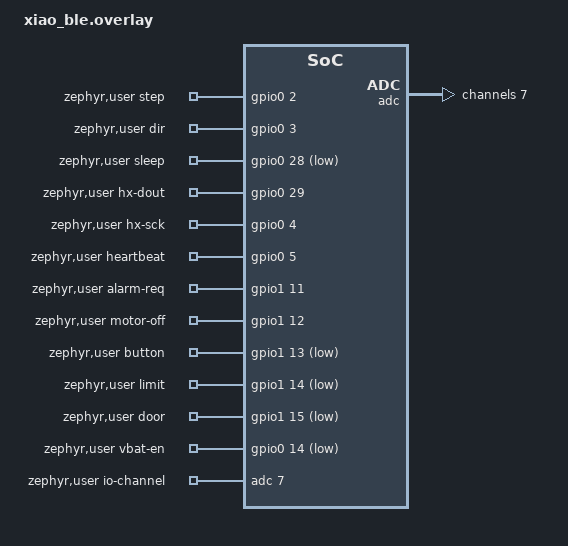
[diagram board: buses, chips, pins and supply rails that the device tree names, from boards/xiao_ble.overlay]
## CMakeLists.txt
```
cmake_minimum_required(VERSION 3.20.0)

find_package(Zephyr REQUIRED HINTS $ENV{ZEPHYR_BASE})
project(openpatch_pump)

set(OP_CORE ${CMAKE_CURRENT_SOURCE_DIR}/../core)

target_include_directories(app PRIVATE ${OP_CORE} src)
target_sources(app PRIVATE
  ${OP_CORE}/op_protocol.c
  ${OP_CORE}/op_fw.c
  src/main.c
  src/board.c
  src/ble.c
  src/storage.c
  src/shell_cmds.c
)
```

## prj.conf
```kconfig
# OpenPatch pump firmware (Seeed XIAO nRF52840, Zephyr)

CONFIG_MAIN_STACK_SIZE=4096
CONFIG_SYSTEM_WORKQUEUE_STACK_SIZE=2048
CONFIG_GPIO=y
CONFIG_ADC=y
CONFIG_WATCHDOG=y
CONFIG_LOG=y

# Bluetooth: one bonded controller, LE Secure Connections with a fixed passkey (MITM-protected)
CONFIG_BT=y
CONFIG_BT_PERIPHERAL=y
CONFIG_BT_DEVICE_NAME="OpenPatch"
CONFIG_BT_MAX_CONN=1
CONFIG_BT_MAX_PAIRED=2
CONFIG_BT_SMP=y
CONFIG_BT_SMP_SC_ONLY=y
CONFIG_BT_SMP_APP_PAIRING_ACCEPT=y
CONFIG_BT_FIXED_PASSKEY=y
CONFIG_BT_SETTINGS=y
CONFIG_BT_L2CAP_TX_MTU=247
CONFIG_BT_BUF_ACL_RX_SIZE=251
CONFIG_BT_BUF_ACL_TX_SIZE=251

# Persistence: settings (config, bonds, state snapshot) on NVS; delivery history on an FCB log
CONFIG_FLASH=y
CONFIG_FLASH_MAP=y
CONFIG_NVS=y
CONFIG_SETTINGS=y
CONFIG_SETTINGS_NVS=y
CONFIG_FCB=y

# USB shell for provisioning and bench tests (the board routes the console to USB CDC-ACM)
CONFIG_SHELL=y
```

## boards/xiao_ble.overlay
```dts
/*
 * OpenPatch pin map on the Seeed XIAO nRF52840
 *
 *  D0  P0.02  STEP            -> DRV8834 STEP (also wired to safety MCU PA1)
 *  D1  P0.03  DIR             -> DRV8834 DIR
 *  D2  P0.28  nSLEEP          -> DRV8834 nSLEEP (driver off between pulses)
 *  D3  P0.29  HX711 DOUT      <- load cell amplifier
 *  D4  P0.04  HX711 SCK       -> load cell amplifier
 *  D5  P0.05  HEARTBEAT       -> safety MCU PA2 (toggles while firmware is healthy)
 *  D6  P1.11  ALARM_REQ       -> safety MCU PA6 (buzzer request)
 *  D7  P1.12  MOTOR_OFF       <- safety MCU PA7 (high = motor power cut)
 *  D8  P1.13  BUTTON          <- to GND (also wired to safety MCU PA3)
 *  D9  P1.14  LIMIT           <- home + end-of-travel switches, wired-OR to GND
 *  D10 P1.15  DOOR            <- reservoir door switch, closed = GND
 *  P0.31/AIN7 battery divider (on the XIAO), enabled by P0.14 low
 */

/ {
	zephyr,user {
		step-gpios = <&gpio0 2 GPIO_ACTIVE_HIGH>;
		dir-gpios = <&gpio0 3 GPIO_ACTIVE_HIGH>;
		sleep-gpios = <&gpio0 28 GPIO_ACTIVE_LOW>;
		hx-dout-gpios = <&gpio0 29 GPIO_ACTIVE_HIGH>;
		hx-sck-gpios = <&gpio0 4 GPIO_ACTIVE_HIGH>;
		heartbeat-gpios = <&gpio0 5 GPIO_ACTIVE_HIGH>;
		alarm-req-gpios = <&gpio1 11 GPIO_ACTIVE_HIGH>;
		motor-off-gpios = <&gpio1 12 GPIO_ACTIVE_HIGH>;
		button-gpios = <&gpio1 13 (GPIO_ACTIVE_LOW | GPIO_PULL_UP)>;
		limit-gpios = <&gpio1 14 (GPIO_ACTIVE_LOW | GPIO_PULL_UP)>;
		door-gpios = <&gpio1 15 (GPIO_ACTIVE_LOW | GPIO_PULL_UP)>;
		vbat-en-gpios = <&gpio0 14 GPIO_ACTIVE_LOW>;
		io-channels = <&adc 7>;
	};
};

&adc {
	#address-cells = <1>;
	#size-cells = <0>;
	status = "okay";

	channel@7 {
		reg = <7>;
		zephyr,gain = "ADC_GAIN_1_6";
		zephyr,reference = "ADC_REF_INTERNAL";
		zephyr,acquisition-time = <ADC_ACQ_TIME_DEFAULT>;
		zephyr,input-positive = <NRF_SAADC_AIN7>;
		zephyr,resolution = <12>;
	};
};

/* The XIAO's header pins double as UART/I2C/SPI; free them for GPIO use */
&uart0 { status = "disabled"; };
&i2c0 { status = "disabled"; };
&i2c1 { status = "disabled"; };
&spi0 { status = "disabled"; };
&spi1 { status = "disabled"; };
&spi2 { status = "disabled"; };

/* Shrink the app partition to make room for a 192 KB append-only delivery history log */
&code_partition {
	reg = <0x00027000 0x00095000>;
};

&flash0 {
	partitions {
		history_partition: partition@bc000 {
			label = "history";
			reg = <0x000bc000 0x00030000>;
		};
	};
};
```

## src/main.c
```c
#include <zephyr/drivers/watchdog.h>
#include <zephyr/kernel.h>
#include <zephyr/logging/log.h>

#include "app.h"
#include "op_hal.h"

LOG_MODULE_REGISTER(openpatch, LOG_LEVEL_INF);

op_fw_t g_fw;
struct app_config g_cfg;
K_MUTEX_DEFINE(g_fw_lock);
K_SEM_DEFINE(init_done, 0, 1);

static const struct device *const wdt = DEVICE_DT_GET(DT_NODELABEL(wdt0));
static int wdt_channel = -1;
static atomic_t alive_ms;

/* ---------- clock: epoch minutes, set by the controller (CMD_SET_TIME) ---------- */

static uint32_t base_minute;
static int64_t base_uptime_ms;

uint32_t app_clock_minute(void)
{
    return base_minute + (uint32_t)((k_uptime_get() - base_uptime_ms) / 60000);
}

void app_clock_set(uint32_t minute)
{
    base_minute = minute;
    base_uptime_ms = k_uptime_get();
}

/* ---------- glue ---------- */

bool app_provisioned(void)
{
    return g_cfg.key_len >= 16 && g_cfg.basal_n > 0 && g_cfg.cal.calibrated;
}

size_t app_handle_frame(const uint8_t *in, size_t len, uint8_t *out, size_t cap)
{
    k_mutex_lock(&g_fw_lock, K_FOREVER);
    size_t n = op_fw_handle(&g_fw, in, len, out, cap);
    k_mutex_unlock(&g_fw_lock);
    return n;
}

void app_keepalive(void)
{
    atomic_set(&alive_ms, (atomic_val_t)k_uptime_get_32());
    if (wdt_channel >= 0) {
        wdt_feed(wdt, wdt_channel);
    }
}

void app_reconfigure(void)
{
    k_mutex_lock(&g_fw_lock, K_FOREVER);
    if (!op_fw_configure(&g_fw, g_cfg.key, g_cfg.key_len, g_cfg.basal_start, g_cfg.basal_cuph, g_cfg.basal_n,
                         &g_cfg.lim)) {
        LOG_ERR("configuration rejected by firmware core");
    }
    k_mutex_unlock(&g_fw_lock);
}

/* ---------- persistence and time hooks from the core ---------- */

void op_hal_history_changed(op_fw_t *fw, const op_record_t *rec)
{
    ARG_UNUSED(fw);
    storage_history_append(rec);
}

void op_hal_state_changed(op_fw_t *fw)
{
    op_snapshot_t s = op_fw_snapshot(fw);
    storage_save_snapshot(&s);
}

void op_hal_time_set(op_fw_t *fw, uint32_t minute)
{
    ARG_UNUSED(fw);
    app_clock_set(minute);
}

/* ---------- UI thread: heartbeat, button, door, LEDs, alarm request ---------- */

static int64_t silenced_until;

static void ui_thread(void *a, void *b, void *c)
{
    ARG_UNUSED(a);
    ARG_UNUSED(b);
    ARG_UNUSED(c);
    bool hb = false;
    uint32_t tick = 0;
    int64_t press_start = -1;
    bool held_handled = false;

    k_sem_take(&init_done, K_FOREVER);
    for (;;) {
        k_msleep(50);
        tick++;
        uint32_t now = k_uptime_get_32();

        /* heartbeat only while the delivery loop is demonstrably alive */
        if (tick % 5 == 0) {
            bool healthy = (now - (uint32_t)atomic_get(&alive_ms)) < 3000;
            if (healthy) {
                hb = !hb;
                board_set_heartbeat(hb);
            }
        }

        /* button: short press silences warnings for 30 min, 5 s hold suspends delivery */
        if (board_button_pressed()) {
            if (press_start < 0) {
                press_start = now;
                held_handled = false;
            } else if (!held_handled && now - press_start >= 5000) {
                k_mutex_lock(&g_fw_lock, K_FOREVER);
                op_fw_local_command(&g_fw, OP_CMD_SUSPEND, NULL, 0);
                k_mutex_unlock(&g_fw_lock);
                LOG_WRN("suspended by button");
                held_handled = true;
            }
        } else if (press_start >= 0) {
            if (!held_handled && now - press_start < 1000) {
                silenced_until = k_uptime_get() + 30LL * 60 * 1000;
            }
            press_start = -1;
        }

        k_mutex_lock(&g_fw_lock, K_FOREVER);
        if (board_door_open() && g_fw.state == OP_STATE_RUNNING) {
            op_fw_local_command(&g_fw, OP_CMD_SUSPEND, NULL, 0);
            LOG_WRN("reservoir door opened: suspended");
        }
        uint16_t alarms = g_fw.alarms;
        uint8_t state = g_fw.state;
        k_mutex_unlock(&g_fw_lock);

        bool stop = (alarms & OP_STOP_MASK) != 0;
        bool warn = (alarms & (OP_WARN_RESERVOIR_LOW | OP_WARN_BATTERY_LOW | OP_WARN_RESTARTED)) != 0;
        board_set_alarm_request(stop || (warn && k_uptime_get() > silenced_until));

        bool blink = (tick / 10) % 2;
        board_leds(stop || (warn && blink), state == OP_STATE_RUNNING && !stop && blink,
                   !app_provisioned() || state == OP_STATE_NO_RESERVOIR || ble_connected());
    }
}

K_THREAD_DEFINE(ui_tid, 2048, ui_thread, NULL, NULL, NULL, 6, 0, 0);

/* ---------- delivery loop ---------- */

static void delivery_step(void)
{
    if (board_rewind_pending()) {
        if (!board_run_rewind()) {
            k_mutex_lock(&g_fw_lock, K_FOREVER);
            op_fw_raise(&g_fw, OP_ALARM_MOTOR);
            k_mutex_unlock(&g_fw_lock);
        }
    }
    uint32_t now = app_clock_minute();
    k_mutex_lock(&g_fw_lock, K_FOREVER);
    if (now > g_fw.minute) {
        uint32_t gap = now - g_fw.minute;
        if (gap <= 3) {
            for (uint32_t m = g_fw.minute + 1; m <= now; m++) {
                op_fw_tick(&g_fw, m);
            }
        } else {
            op_fw_tick(&g_fw, now);   /* never "catch up" hours of basal after a clock jump */
        }
    }
    k_mutex_unlock(&g_fw_lock);
}

static void watchdog_start(void)
{
    if (!device_is_ready(wdt)) {
        LOG_ERR("watchdog not ready");
        return;
    }
    struct wdt_timeout_cfg cfg = {
        .window = {.min = 0, .max = 8000},
        .callback = NULL,
        .flags = WDT_FLAG_RESET_SOC,
    };
    wdt_channel = wdt_install_timeout(wdt, &cfg);
    if (wdt_channel < 0 || wdt_setup(wdt, WDT_OPT_PAUSE_HALTED_BY_DBG) < 0) {
        LOG_ERR("watchdog setup failed");
        wdt_channel = -1;
    }
}

int main(void)
{
    static const uint16_t idle_start[1] = {0};
    static const uint16_t idle_rate[1] = {0};

    board_init();
    storage_init();
    storage_load_config(&g_cfg);
    storage_history_init();

    const uint16_t *starts = g_cfg.basal_n ? g_cfg.basal_start : idle_start;
    const uint16_t *rates = g_cfg.basal_n ? g_cfg.basal_cuph : idle_rate;
    size_t n = g_cfg.basal_n ? g_cfg.basal_n : 1;

    k_mutex_lock(&g_fw_lock, K_FOREVER);
    op_fw_init(&g_fw, NULL, g_cfg.key, g_cfg.key_len, starts, rates, n, &g_cfg.lim, 0, 0);
    if (g_cfg.snap.valid) {
        op_fw_restore(&g_fw, &g_cfg.snap);
        storage_history_replay(&g_fw);
        op_fw_power_cycle(&g_fw);    /* resume scheduled basal, nothing in flight, RESTARTED alarm */
    }
    app_clock_set(g_fw.minute);
    k_mutex_unlock(&g_fw_lock);

    board_apply_cal(&g_cfg.cal);
    board_update_battery();

    if (app_provisioned()) {
        ble_start(g_cfg.cal.passkey);
    } else {
        LOG_WRN("not provisioned: connect USB and use the 'op' shell (op status)");
    }

    watchdog_start();
    app_keepalive();
    k_sem_give(&init_done);

    uint32_t loops = 0;
    for (;;) {
        delivery_step();
        if (++loops % 60 == 0) {
            board_update_battery();
        }
        app_keepalive();
        k_msleep(1000);
    }
    return 0;
}
```

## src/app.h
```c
#ifndef APP_H
#define APP_H

#include <stdbool.h>
#include <stdint.h>
#include <zephyr/kernel.h>

#include "op_fw.h"

struct app_cal {
    uint32_t steps_per_pulse_x100;   /* motor steps per 0.05 U, x100 (from gravimetric calibration) */
    int32_t force_zero;              /* HX711 raw reading with no load */
    int32_t force_counts_per_unit;   /* HX711 counts per force unit used by occlusion_threshold */
    uint32_t passkey;                /* 6-digit BLE pairing passkey */
    uint8_t calibrated;
};

struct app_config {
    uint8_t key[OP_MAX_KEY];
    uint8_t key_len;
    op_limits_t lim;
    uint8_t basal_n;
    uint16_t basal_start[OP_MAX_BASAL_ENTRIES];
    uint16_t basal_cuph[OP_MAX_BASAL_ENTRIES];
    struct app_cal cal;
    op_snapshot_t snap;
};

extern op_fw_t g_fw;
extern struct app_config g_cfg;
extern struct k_mutex g_fw_lock;

bool app_provisioned(void);
size_t app_handle_frame(const uint8_t *in, size_t len, uint8_t *out, size_t cap);
void app_keepalive(void);            /* long motor operations call this to keep watchdog + heartbeat alive */
void app_reconfigure(void);          /* re-apply key/basal/limits after a shell change */
uint32_t app_clock_minute(void);
void app_clock_set(uint32_t minute);

/* board.c */
int board_init(void);
void board_apply_cal(const struct app_cal *cal);
bool board_rewind_pending(void);
bool board_run_rewind(void);
int32_t board_read_force_raw(void);
uint16_t board_battery_mv(void);
void board_update_battery(void);
void board_set_heartbeat(bool level);
void board_set_alarm_request(bool on);
bool board_motor_power_off(void);
bool board_button_pressed(void);
bool board_door_open(void);
void board_leds(bool red, bool green, bool blue);
int board_bench_pulses(uint32_t n);

/* ble.c */
int ble_start(uint32_t passkey);
void ble_open_pairing_window(uint32_t seconds);
int ble_unpair_all(void);
bool ble_connected(void);

/* storage.c */
int storage_init(void);
int storage_load_config(struct app_config *cfg);
int storage_save_key(void);
int storage_save_limits(void);
int storage_save_basal(void);
int storage_save_cal(void);
void storage_save_snapshot(const op_snapshot_t *snap);
int storage_history_init(void);
void storage_history_append(const op_record_t *rec);
int storage_history_replay(op_fw_t *fw);

#endif
```

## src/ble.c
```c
#include <zephyr/bluetooth/bluetooth.h>
#include <zephyr/bluetooth/conn.h>
#include <zephyr/bluetooth/gatt.h>
#include <zephyr/bluetooth/uuid.h>
#include <zephyr/kernel.h>
#include <zephyr/logging/log.h>
#include <zephyr/settings/settings.h>

#include "app.h"

LOG_MODULE_REGISTER(ble, LOG_LEVEL_INF);

/* GATT layout shared with openpatch/pump/ble.py */
static struct bt_uuid_128 svc_uuid =
    BT_UUID_INIT_128(BT_UUID_128_ENCODE(0x6f700001, 0x0b5a, 0x4c5e, 0x9d3e, 0x0e0a7c1d0001));
static struct bt_uuid_128 cmd_uuid =
    BT_UUID_INIT_128(BT_UUID_128_ENCODE(0x6f700002, 0x0b5a, 0x4c5e, 0x9d3e, 0x0e0a7c1d0001));
static struct bt_uuid_128 rsp_uuid =
    BT_UUID_INIT_128(BT_UUID_128_ENCODE(0x6f700003, 0x0b5a, 0x4c5e, 0x9d3e, 0x0e0a7c1d0001));

static struct bt_conn *current;
static int64_t pairing_until;

/* Commands run on their own work queue: never on the Bluetooth host's threads */
K_THREAD_STACK_DEFINE(cmd_stack, 3072);
static struct k_work_q cmd_q;
static struct k_work cmd_work;
static uint8_t req_buf[OP_MAX_FRAME];
static size_t req_len;
static struct bt_conn *req_conn;
static atomic_t req_busy;

static ssize_t on_cmd_write(struct bt_conn *conn, const struct bt_gatt_attr *attr, const void *buf, uint16_t len,
                            uint16_t offset, uint8_t flags);

BT_GATT_SERVICE_DEFINE(op_svc,
    BT_GATT_PRIMARY_SERVICE(&svc_uuid),
    BT_GATT_CHARACTERISTIC(&cmd_uuid.uuid, BT_GATT_CHRC_WRITE, BT_GATT_PERM_WRITE_AUTHEN, NULL, on_cmd_write, NULL),
    BT_GATT_CHARACTERISTIC(&rsp_uuid.uuid, BT_GATT_CHRC_NOTIFY, BT_GATT_PERM_NONE, NULL, NULL, NULL),
    BT_GATT_CCC(NULL, BT_GATT_PERM_READ | BT_GATT_PERM_WRITE_AUTHEN),
);

static void cmd_work_handler(struct k_work *work)
{
    ARG_UNUSED(work);
    static uint8_t rsp[OP_MAX_FRAME];
    size_t n = app_handle_frame(req_buf, req_len, rsp, sizeof rsp);
    if (n && req_conn) {
        int err = bt_gatt_notify(req_conn, &op_svc.attrs[4], rsp, (uint16_t)n);
        if (err) {
            LOG_WRN("notify failed (%d)", err);
        }
    }
    if (req_conn) {
        bt_conn_unref(req_conn);
        req_conn = NULL;
    }
    atomic_set(&req_busy, 0);
}

static ssize_t on_cmd_write(struct bt_conn *conn, const struct bt_gatt_attr *attr, const void *buf, uint16_t len,
                            uint16_t offset, uint8_t flags)
{
    ARG_UNUSED(attr);
    ARG_UNUSED(flags);
    if (offset != 0) {
        return BT_GATT_ERR(BT_ATT_ERR_INVALID_OFFSET);
    }
    if (len > sizeof req_buf) {
        return BT_GATT_ERR(BT_ATT_ERR_INVALID_ATTRIBUTE_LEN);
    }
    if (!atomic_cas(&req_busy, 0, 1)) {
        return BT_GATT_ERR(BT_ATT_ERR_UNLIKELY);   /* one command at a time; the controller retries */
    }
    memcpy(req_buf, buf, len);
    req_len = len;
    req_conn = bt_conn_ref(conn);
    k_work_submit_to_queue(&cmd_q, &cmd_work);
    return len;
}

/* ---------- connection and pairing ---------- */

static const struct bt_data ad[] = {
    BT_DATA_BYTES(BT_DATA_FLAGS, (BT_LE_AD_GENERAL | BT_LE_AD_NO_BREDR)),
    BT_DATA_BYTES(BT_DATA_UUID128_ALL, BT_UUID_128_ENCODE(0x6f700001, 0x0b5a, 0x4c5e, 0x9d3e, 0x0e0a7c1d0001)),
};
static const struct bt_data sd[] = {
    BT_DATA(BT_DATA_NAME_COMPLETE, CONFIG_BT_DEVICE_NAME, sizeof(CONFIG_BT_DEVICE_NAME) - 1),
};

static void advertise(void)
{
    int err = bt_le_adv_start(BT_LE_ADV_CONN_FAST_1, ad, ARRAY_SIZE(ad), sd, ARRAY_SIZE(sd));
    if (err && err != -EALREADY) {
        LOG_ERR("advertising failed (%d)", err);
    }
}

static void on_connected(struct bt_conn *conn, uint8_t err)
{
    if (err) {
        return;
    }
    current = bt_conn_ref(conn);
    bt_conn_set_security(conn, BT_SECURITY_L4);
    LOG_INF("connected");
}

static void on_disconnected(struct bt_conn *conn, uint8_t reason)
{
    ARG_UNUSED(conn);
    if (current) {
        bt_conn_unref(current);
        current = NULL;
    }
    LOG_INF("disconnected (0x%02x)", reason);
}

static void on_recycled(void)
{
    advertise();
}

BT_CONN_CB_DEFINE(conn_callbacks) = {
    .connected = on_connected,
    .disconnected = on_disconnected,
    .recycled = on_recycled,
};

static unsigned int bond_count;

static void count_bond(const struct bt_bond_info *info, void *data)
{
    ARG_UNUSED(info);
    ARG_UNUSED(data);
    bond_count++;
}

static enum bt_security_err pairing_accept(struct bt_conn *conn, const struct bt_conn_pairing_feat *const feat)
{
    ARG_UNUSED(conn);
    ARG_UNUSED(feat);
    bond_count = 0;
    bt_foreach_bond(BT_ID_DEFAULT, count_bond, NULL);
    if (bond_count == 0 || k_uptime_get() < pairing_until) {
        return BT_SECURITY_ERR_SUCCESS;
    }
    LOG_WRN("pairing refused: open a window with 'op pair' on the USB shell");
    return BT_SECURITY_ERR_PAIR_NOT_ALLOWED;
}

static void passkey_display(struct bt_conn *conn, unsigned int passkey)
{
    ARG_UNUSED(conn);
    LOG_INF("pairing passkey: %06u", passkey);
}

static void auth_cancel(struct bt_conn *conn)
{
    ARG_UNUSED(conn);
}

static struct bt_conn_auth_cb auth_cb = {
    .pairing_accept = pairing_accept,
    .passkey_display = passkey_display,
    .cancel = auth_cancel,
};

static void pairing_complete(struct bt_conn *conn, bool bonded)
{
    ARG_UNUSED(conn);
    LOG_INF("paired (bonded=%d)", bonded);
}

static void pairing_failed(struct bt_conn *conn, enum bt_security_err reason)
{
    ARG_UNUSED(conn);
    LOG_WRN("pairing failed (%d)", reason);
}

static struct bt_conn_auth_info_cb auth_info_cb = {
    .pairing_complete = pairing_complete,
    .pairing_failed = pairing_failed,
};

int ble_start(uint32_t passkey)
{
    k_work_queue_init(&cmd_q);
    k_work_queue_start(&cmd_q, cmd_stack, K_THREAD_STACK_SIZEOF(cmd_stack), 5, NULL);
    k_work_init(&cmd_work, cmd_work_handler);

    int err = bt_enable(NULL);
    if (err) {
        LOG_ERR("bt_enable failed (%d)", err);
        return err;
    }
    settings_load();   /* bonds */
    bt_passkey_set(passkey % 1000000);
    bt_conn_auth_cb_register(&auth_cb);
    bt_conn_auth_info_cb_register(&auth_info_cb);
    advertise();
    return 0;
}

void ble_open_pairing_window(uint32_t seconds)
{
    pairing_until = k_uptime_get() + (int64_t)seconds * 1000;
}

int ble_unpair_all(void)
{
    return bt_unpair(BT_ID_DEFAULT, BT_ADDR_LE_ANY);
}

bool ble_connected(void)
{
    return current != NULL;
}
```

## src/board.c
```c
#include <zephyr/drivers/adc.h>
#include <zephyr/drivers/gpio.h>
#include <zephyr/kernel.h>
#include <zephyr/logging/log.h>

#include "app.h"
#include "op_hal.h"

LOG_MODULE_REGISTER(board, LOG_LEVEL_INF);

#define USER DT_PATH(zephyr_user)

static const struct gpio_dt_spec step = GPIO_DT_SPEC_GET(USER, step_gpios);
static const struct gpio_dt_spec dir = GPIO_DT_SPEC_GET(USER, dir_gpios);
static const struct gpio_dt_spec sleep_n = GPIO_DT_SPEC_GET(USER, sleep_gpios);
static const struct gpio_dt_spec hx_dout = GPIO_DT_SPEC_GET(USER, hx_dout_gpios);
static const struct gpio_dt_spec hx_sck = GPIO_DT_SPEC_GET(USER, hx_sck_gpios);
static const struct gpio_dt_spec heartbeat = GPIO_DT_SPEC_GET(USER, heartbeat_gpios);
static const struct gpio_dt_spec alarm_req = GPIO_DT_SPEC_GET(USER, alarm_req_gpios);
static const struct gpio_dt_spec motor_off = GPIO_DT_SPEC_GET(USER, motor_off_gpios);
static const struct gpio_dt_spec button = GPIO_DT_SPEC_GET(USER, button_gpios);
static const struct gpio_dt_spec limit = GPIO_DT_SPEC_GET(USER, limit_gpios);
static const struct gpio_dt_spec door = GPIO_DT_SPEC_GET(USER, door_gpios);
static const struct gpio_dt_spec vbat_en = GPIO_DT_SPEC_GET(USER, vbat_en_gpios);
static const struct gpio_dt_spec led_r = GPIO_DT_SPEC_GET(DT_ALIAS(led0), gpios);
static const struct gpio_dt_spec led_g = GPIO_DT_SPEC_GET(DT_ALIAS(led1), gpios);
static const struct gpio_dt_spec led_b = GPIO_DT_SPEC_GET(DT_ALIAS(led2), gpios);
static const struct adc_dt_spec vbat = ADC_DT_SPEC_GET(USER);

#define STEP_HALF_US 400            /* ~1.25 kHz under load */
#define REWIND_HALF_US 150          /* unloaded retraction is faster */
#define DRIVER_WAKE_US 1000
#define MAX_REWIND_STEPS 200000u    /* > full 40 mm travel at 0.25 um/step */
#define LIMIT_BACKOFF_STEPS 400

static struct app_cal cal = {.steps_per_pulse_x100 = 1400, .force_counts_per_unit = 100};
static uint32_t step_carry;
static atomic_t rewind_requested;
static atomic_t rewinding;
static atomic_t battery_mv_cached = ATOMIC_INIT(4000);

int board_init(void)
{
    const struct gpio_dt_spec *outs[] = {&step, &dir, &sleep_n, &hx_sck, &heartbeat, &alarm_req,
                                         &led_r, &led_g, &led_b};
    const struct gpio_dt_spec *ins[] = {&hx_dout, &motor_off, &button, &limit, &door};
    for (size_t i = 0; i < ARRAY_SIZE(outs); i++) {
        if (!gpio_is_ready_dt(outs[i]) || gpio_pin_configure_dt(outs[i], GPIO_OUTPUT_INACTIVE) < 0) {
            LOG_ERR("output %u not ready", (unsigned)i);
            return -ENODEV;
        }
    }
    for (size_t i = 0; i < ARRAY_SIZE(ins); i++) {
        if (!gpio_is_ready_dt(ins[i]) || gpio_pin_configure_dt(ins[i], GPIO_INPUT) < 0) {
            LOG_ERR("input %u not ready", (unsigned)i);
            return -ENODEV;
        }
    }
    /* Seeed: keep P0.14 low at all times; driving it high exposes AIN7 to the raw battery voltage */
    if (!gpio_is_ready_dt(&vbat_en) || gpio_pin_configure_dt(&vbat_en, GPIO_OUTPUT_ACTIVE) < 0) {
        LOG_ERR("battery divider enable not ready");
    }
    if (!adc_is_ready_dt(&vbat) || adc_channel_setup_dt(&vbat) < 0) {
        LOG_ERR("battery ADC not ready");
    }
    return 0;
}

void board_apply_cal(const struct app_cal *c)
{
    cal = *c;
    if (cal.steps_per_pulse_x100 == 0) {
        cal.steps_per_pulse_x100 = 1400;
    }
    if (cal.force_counts_per_unit == 0) {
        cal.force_counts_per_unit = 100;
    }
}

/* ---------- motor ---------- */

static void step_once(uint32_t half_us)
{
    gpio_pin_set_dt(&step, 1);
    k_busy_wait(half_us);
    gpio_pin_set_dt(&step, 0);
    k_busy_wait(half_us);
}

static void driver_enable(bool on)
{
    gpio_pin_set_dt(&sleep_n, on ? 0 : 1);   /* nSLEEP is active-low in the devicetree */
    if (on) {
        k_busy_wait(DRIVER_WAKE_US);
    }
}

op_hal_result_t op_hal_motor_pulse(op_fw_t *fw, uint8_t kind)
{
    ARG_UNUSED(fw);
    ARG_UNUSED(kind);
    if (gpio_pin_get_dt(&motor_off)) {
        return OP_HAL_NO_POWER;
    }
    if (gpio_pin_get_dt(&limit)) {
        return OP_HAL_END_OF_TRAVEL;
    }
    uint32_t total = step_carry + cal.steps_per_pulse_x100;
    uint32_t steps = total / 100;
    step_carry = total % 100;

    gpio_pin_set_dt(&dir, 1);
    driver_enable(true);
    for (uint32_t i = 0; i < steps; i++) {
        if (gpio_pin_get_dt(&limit)) {
            driver_enable(false);
            return OP_HAL_END_OF_TRAVEL;
        }
        if (gpio_pin_get_dt(&motor_off)) {
            driver_enable(false);
            return OP_HAL_NO_POWER;
        }
        step_once(STEP_HALF_US);
    }
    driver_enable(false);
    return OP_HAL_OK;
}

bool op_hal_motor_rewind(op_fw_t *fw)
{
    ARG_UNUSED(fw);
    if (gpio_pin_get_dt(&motor_off)) {
        return false;
    }
    atomic_set(&rewind_requested, 1);   /* performed by the delivery loop, outside the command path */
    return true;
}

bool op_hal_busy(op_fw_t *fw)
{
    ARG_UNUSED(fw);
    return atomic_get(&rewind_requested) || atomic_get(&rewinding);
}

bool board_rewind_pending(void)
{
    return atomic_get(&rewind_requested) != 0;
}

bool board_run_rewind(void)
{
    atomic_set(&rewinding, 1);
    atomic_set(&rewind_requested, 0);
    bool ok = false;

    /* If already on the limit switch (end of travel), the first moves back off it */
    gpio_pin_set_dt(&dir, 0);
    driver_enable(true);
    uint32_t i = 0;
    for (; i < LIMIT_BACKOFF_STEPS && gpio_pin_get_dt(&limit); i++) {
        step_once(REWIND_HALF_US);
    }
    for (; i < MAX_REWIND_STEPS; i++) {
        if (gpio_pin_get_dt(&motor_off)) {
            break;
        }
        if (gpio_pin_get_dt(&limit)) {
            ok = true;
            break;
        }
        step_once(REWIND_HALF_US);
        if (i % 2000 == 0) {
            app_keepalive();
        }
    }
    if (ok) {
        /* home and end switches share one input: step forward until the home switch releases */
        gpio_pin_set_dt(&dir, 1);
        uint32_t b = 0;
        for (; b < LIMIT_BACKOFF_STEPS && gpio_pin_get_dt(&limit); b++) {
            step_once(REWIND_HALF_US);
        }
        ok = !gpio_pin_get_dt(&limit);
    }
    driver_enable(false);
    step_carry = 0;
    atomic_set(&rewinding, 0);
    if (!ok) {
        LOG_ERR("rewind failed after %u steps", (unsigned)i);
    }
    return ok;
}

int board_bench_pulses(uint32_t n)
{
    for (uint32_t i = 0; i < n; i++) {
        op_hal_result_t r = op_hal_motor_pulse(NULL, OP_KIND_PRIME);
        if (r != OP_HAL_OK) {
            return -(int)r;
        }
        app_keepalive();
    }
    return 0;
}

/* ---------- load cell (HX711, channel A, gain 128) ---------- */

int32_t board_read_force_raw(void)
{
    for (int waited = 0; gpio_pin_get_dt(&hx_dout); waited++) {
        if (waited > 200) {
            return INT32_MIN;          /* no conversion within 200 ms: sensor fault */
        }
        k_msleep(1);
    }
    uint32_t v = 0;
    unsigned int key = irq_lock();
    for (int i = 0; i < 24; i++) {
        gpio_pin_set_dt(&hx_sck, 1);
        k_busy_wait(1);
        v = (v << 1) | (uint32_t)gpio_pin_get_dt(&hx_dout);
        gpio_pin_set_dt(&hx_sck, 0);
        k_busy_wait(1);
    }
    gpio_pin_set_dt(&hx_sck, 1);       /* 25th pulse selects channel A / gain 128 for the next read */
    k_busy_wait(1);
    gpio_pin_set_dt(&hx_sck, 0);
    irq_unlock(key);
    if (v & 0x800000) {
        v |= 0xFF000000;
    }
    return (int32_t)v;
}

uint16_t op_hal_line_force(op_fw_t *fw)
{
    ARG_UNUSED(fw);
    int32_t raw = board_read_force_raw();
    if (raw == INT32_MIN) {
        return 0xFFFF;                 /* unreadable sensor reads as maximum force: fails safe */
    }
    int32_t f = (raw - cal.force_zero) / cal.force_counts_per_unit;
    if (f < 0) {
        return 0;
    }
    return f > 0xFFFE ? 0xFFFE : (uint16_t)f;
}

/* ---------- battery ---------- */

void board_update_battery(void)
{
    int16_t sample = 0;
    struct adc_sequence seq = {.buffer = &sample, .buffer_size = sizeof sample};
    if (adc_sequence_init_dt(&vbat, &seq) == 0 && adc_read_dt(&vbat, &seq) == 0) {
        int32_t mv = sample;
        if (adc_raw_to_millivolts_dt(&vbat, &mv) == 0) {
            atomic_set(&battery_mv_cached, mv * 1510 / 510);   /* XIAO divider: 1 M / 510 k */
        }
    }
}

uint16_t board_battery_mv(void)
{
    return (uint16_t)atomic_get(&battery_mv_cached);
}

uint8_t op_hal_battery_pct(op_fw_t *fw)
{
    ARG_UNUSED(fw);
    int32_t mv = (int32_t)board_battery_mv();
    int32_t pct = (mv - 3300) * 100 / (4150 - 3300);   /* rough LiPo curve under light load */
    return (uint8_t)(pct < 0 ? 0 : pct > 100 ? 100 : pct);
}

/* ---------- misc I/O ---------- */

void board_set_heartbeat(bool level)
{
    gpio_pin_set_dt(&heartbeat, level);
}

void board_set_alarm_request(bool on)
{
    gpio_pin_set_dt(&alarm_req, on);
}

bool board_motor_power_off(void)
{
    return gpio_pin_get_dt(&motor_off) == 1;
}

bool board_button_pressed(void)
{
    return gpio_pin_get_dt(&button) == 1;
}

bool board_door_open(void)
{
    return gpio_pin_get_dt(&door) == 0;
}

void board_leds(bool red, bool green, bool blue)
{
    gpio_pin_set_dt(&led_r, red);
    gpio_pin_set_dt(&led_g, green);
    gpio_pin_set_dt(&led_b, blue);
}
```

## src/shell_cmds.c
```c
#include <stdlib.h>
#include <string.h>
#include <zephyr/kernel.h>
#include <zephyr/random/random.h>
#include <zephyr/shell/shell.h>

#include "app.h"

/* USB provisioning and bench shell. Every command that changes configuration requires the pump to be
 * out of RUNNING state: keys and limits are never changed while insulin is being delivered. */

static bool require_idle(const struct shell *sh)
{
    k_mutex_lock(&g_fw_lock, K_FOREVER);
    bool idle = g_fw.state != OP_STATE_RUNNING;
    k_mutex_unlock(&g_fw_lock);
    if (!idle) {
        shell_error(sh, "suspend delivery first (hold the button 5 s, or send SUSPEND)");
    }
    return idle;
}

static int hexval(char c)
{
    if (c >= '0' && c <= '9') {
        return c - '0';
    }
    if (c >= 'a' && c <= 'f') {
        return c - 'a' + 10;
    }
    if (c >= 'A' && c <= 'F') {
        return c - 'A' + 10;
    }
    return -1;
}

static int cmd_status(const struct shell *sh, size_t argc, char **argv)
{
    ARG_UNUSED(argc);
    ARG_UNUSED(argv);
    static const char *states[] = {"running", "suspended", "no_reservoir", "priming"};
    k_mutex_lock(&g_fw_lock, K_FOREVER);
    shell_print(sh, "state %s  minute %u  reservoir %u.%02u U  alarms 0x%04x  last-hour %u cU",
                states[g_fw.state & 3], g_fw.minute, g_fw.reservoir_cu / 100, g_fw.reservoir_cu % 100, g_fw.alarms,
                op_fw_window_cu(&g_fw));
    k_mutex_unlock(&g_fw_lock);
    shell_print(sh, "provisioned %s  key %s  basal entries %u  calibrated %s  battery %u mV  ble %s",
                app_provisioned() ? "yes" : "NO", g_cfg.key_len >= 16 ? "set" : "MISSING", g_cfg.basal_n,
                g_cfg.cal.calibrated ? "yes" : "NO", board_battery_mv(), ble_connected() ? "connected" : "idle");
    shell_print(sh, "limits: max basal %u cU/h, max bolus %u cU, hourly cap %u cU, occlusion %u",
                g_cfg.lim.max_basal_cuph, g_cfg.lim.max_bolus_cu, g_cfg.lim.hourly_cap_cu,
                g_cfg.lim.occlusion_threshold);
    shell_print(sh, "cal: %u steps/pulse x100, force zero %d, %d counts/unit, passkey %06u",
                g_cfg.cal.steps_per_pulse_x100, g_cfg.cal.force_zero, g_cfg.cal.force_counts_per_unit,
                g_cfg.cal.passkey);
    return 0;
}

static int cmd_key(const struct shell *sh, size_t argc, char **argv)
{
    ARG_UNUSED(argc);
    if (!require_idle(sh)) {
        return -EPERM;
    }
    size_t len = strlen(argv[1]);
    if (len < 32 || len > 2 * OP_MAX_KEY || len % 2) {
        shell_error(sh, "key must be 32..128 hex characters (16..64 bytes)");
        return -EINVAL;
    }
    for (size_t i = 0; i < len / 2; i++) {
        int hi = hexval(argv[1][2 * i]), lo = hexval(argv[1][2 * i + 1]);
        if (hi < 0 || lo < 0) {
            shell_error(sh, "not hex");
            return -EINVAL;
        }
        g_cfg.key[i] = (uint8_t)(hi << 4 | lo);
    }
    g_cfg.key_len = (uint8_t)(len / 2);
    storage_save_key();
    app_reconfigure();
    shell_print(sh, "key stored (%u bytes). Put the same hex in the controller config.", g_cfg.key_len);
    return 0;
}

static int cmd_limits(const struct shell *sh, size_t argc, char **argv)
{
    ARG_UNUSED(argc);
    if (!require_idle(sh)) {
        return -EPERM;
    }
    long basal = strtol(argv[1], NULL, 10), bolus = strtol(argv[2], NULL, 10), cap = strtol(argv[3], NULL, 10);
    if (basal < 5 || basal > 1000 || bolus < 5 || bolus > 2500 || cap < bolus || cap > 3000) {
        shell_error(sh, "usage: op limits <max_basal_cU/h 5..1000> <max_bolus_cU 5..2500> <hourly_cap_cU>=bolus>");
        return -EINVAL;
    }
    g_cfg.lim.max_basal_cuph = (uint16_t)basal;
    g_cfg.lim.max_bolus_cu = (uint16_t)bolus;
    g_cfg.lim.hourly_cap_cu = (uint16_t)cap;
    storage_save_limits();
    app_reconfigure();
    shell_print(sh, "limits stored. Make the safety MCU ceilings match (see firmware/README.md).");
    return 0;
}

static int cmd_basal(const struct shell *sh, size_t argc, char **argv)
{
    if (!require_idle(sh)) {
        return -EPERM;
    }
    if (argc - 1 > OP_MAX_BASAL_ENTRIES) {
        shell_error(sh, "at most %d entries", OP_MAX_BASAL_ENTRIES);
        return -EINVAL;
    }
    uint16_t start[OP_MAX_BASAL_ENTRIES], rate[OP_MAX_BASAL_ENTRIES];
    for (size_t i = 1; i < argc; i++) {
        char *colon = strchr(argv[i], ':');
        if (!colon) {
            shell_error(sh, "usage: op basal <minute>:<cU/h> ...   e.g. op basal 0:80 240:100 480:80");
            return -EINVAL;
        }
        long m = strtol(argv[i], NULL, 10), r = strtol(colon + 1, NULL, 10);
        if (m < 0 || m >= 1440 || r < 0 || r > g_cfg.lim.max_basal_cuph || (i == 1 && m != 0) ||
            (i > 1 && m <= start[i - 2])) {
            shell_error(sh, "entry %u invalid (first must start at 0, ascending, rate <= max basal)", (unsigned)i);
            return -EINVAL;
        }
        start[i - 1] = (uint16_t)m;
        rate[i - 1] = (uint16_t)r;
    }
    g_cfg.basal_n = (uint8_t)(argc - 1);
    memcpy(g_cfg.basal_start, start, sizeof(uint16_t) * g_cfg.basal_n);
    memcpy(g_cfg.basal_cuph, rate, sizeof(uint16_t) * g_cfg.basal_n);
    storage_save_basal();
    app_reconfigure();
    shell_print(sh, "basal schedule stored (%u entries)", g_cfg.basal_n);
    return 0;
}

static int cmd_cal_steps(const struct shell *sh, size_t argc, char **argv)
{
    ARG_UNUSED(argc);
    long v = strtol(argv[1], NULL, 10);
    if (v < 100 || v > 100000) {
        shell_error(sh, "steps per pulse x100 must be 100..100000");
        return -EINVAL;
    }
    g_cfg.cal.steps_per_pulse_x100 = (uint32_t)v;
    storage_save_cal();
    board_apply_cal(&g_cfg.cal);
    return 0;
}

static int cmd_cal_zero(const struct shell *sh, size_t argc, char **argv)
{
    ARG_UNUSED(argc);
    ARG_UNUSED(argv);
    int64_t sum = 0;
    for (int i = 0; i < 16; i++) {
        int32_t raw = board_read_force_raw();
        if (raw == INT32_MIN) {
            shell_error(sh, "load cell not responding");
            return -EIO;
        }
        sum += raw;
    }
    g_cfg.cal.force_zero = (int32_t)(sum / 16);
    storage_save_cal();
    board_apply_cal(&g_cfg.cal);
    shell_print(sh, "force zero = %d", g_cfg.cal.force_zero);
    return 0;
}

static int cmd_cal_force(const struct shell *sh, size_t argc, char **argv)
{
    ARG_UNUSED(argc);
    long counts = strtol(argv[1], NULL, 10), threshold = strtol(argv[2], NULL, 10);
    if (counts <= 0 || threshold <= 0 || threshold >= 0xFFFE) {
        shell_error(sh, "usage: op cal force <counts_per_unit> <occlusion_threshold_units>");
        return -EINVAL;
    }
    g_cfg.cal.force_counts_per_unit = (int32_t)counts;
    g_cfg.lim.occlusion_threshold = (uint16_t)threshold;
    storage_save_cal();
    storage_save_limits();
    board_apply_cal(&g_cfg.cal);
    app_reconfigure();
    return 0;
}

static int cmd_cal_raw(const struct shell *sh, size_t argc, char **argv)
{
    ARG_UNUSED(argc);
    ARG_UNUSED(argv);
    shell_print(sh, "raw %d", board_read_force_raw());
    return 0;
}

static int cmd_cal_done(const struct shell *sh, size_t argc, char **argv)
{
    ARG_UNUSED(argc);
    ARG_UNUSED(argv);
    if (g_cfg.lim.occlusion_threshold == 0xFFFE) {
        shell_error(sh, "set the occlusion threshold first (op cal force)");
        return -EINVAL;
    }
    if (g_cfg.cal.passkey == 0) {
        g_cfg.cal.passkey = 100000 + sys_rand32_get() % 900000;
    }
    g_cfg.cal.calibrated = 1;
    storage_save_cal();
    shell_print(sh, "calibration marked complete. BLE passkey: %06u. Reboot to start Bluetooth.", g_cfg.cal.passkey);
    return 0;
}

static int cmd_bench(const struct shell *sh, size_t argc, char **argv)
{
    ARG_UNUSED(argc);
    /* only in PRIMING: reachable solely after a rewind + reservoir change, never with a set on the body */
    k_mutex_lock(&g_fw_lock, K_FOREVER);
    bool priming = g_fw.state == OP_STATE_PRIMING;
    k_mutex_unlock(&g_fw_lock);
    if (!priming) {
        shell_error(sh, "bench pulses only in PRIMING state (rewind, then set reservoir with saline)");
        return -EPERM;
    }
    long n = strtol(argv[1], NULL, 10);
    if (n <= 0 || n > 2000) {
        shell_error(sh, "usage: op bench <pulses 1..2000>  (saline only, set disconnected from any body)");
        return -EINVAL;
    }
    int r = board_bench_pulses((uint32_t)n);
    if (r == 0) {
        shell_print(sh, "delivered %ld pulses: weigh the output (1 pulse = 0.5 mg of water)", n);
    } else {
        shell_error(sh, "stopped early (hal error %d)", r);
    }
    return r;
}

static int cmd_time(const struct shell *sh, size_t argc, char **argv)
{
    ARG_UNUSED(argc);
    uint32_t minute = (uint32_t)strtoul(argv[1], NULL, 10);
    uint8_t p[4] = {(uint8_t)(minute >> 24), (uint8_t)(minute >> 16), (uint8_t)(minute >> 8), (uint8_t)minute};
    k_mutex_lock(&g_fw_lock, K_FOREVER);
    int st = op_fw_local_command(&g_fw, OP_CMD_SET_TIME, p, 4);
    k_mutex_unlock(&g_fw_lock);
    if (st == OP_ST_OK) {
        shell_print(sh, "time set");
    } else {
        shell_error(sh, "rejected (status %d)", st);
    }
    return 0;
}

static int cmd_pair(const struct shell *sh, size_t argc, char **argv)
{
    ARG_UNUSED(argc);
    ARG_UNUSED(argv);
    ble_open_pairing_window(120);
    shell_print(sh, "pairing allowed for 120 s. Passkey: %06u", g_cfg.cal.passkey);
    return 0;
}

static int cmd_unpair(const struct shell *sh, size_t argc, char **argv)
{
    ARG_UNUSED(argc);
    ARG_UNUSED(argv);
    shell_print(sh, "unpair: %d", ble_unpair_all());
    return 0;
}

SHELL_STATIC_SUBCMD_SET_CREATE(sub_cal,
    SHELL_CMD_ARG(steps, NULL, "<steps_per_pulse_x100>", cmd_cal_steps, 2, 0),
    SHELL_CMD_ARG(zero, NULL, "tare the load cell (no load on the plunger)", cmd_cal_zero, 1, 0),
    SHELL_CMD_ARG(force, NULL, "<counts_per_unit> <occlusion_threshold>", cmd_cal_force, 3, 0),
    SHELL_CMD_ARG(raw, NULL, "print a raw load-cell reading", cmd_cal_raw, 1, 0),
    SHELL_CMD_ARG(done, NULL, "mark calibration complete, generate passkey", cmd_cal_done, 1, 0),
    SHELL_SUBCMD_SET_END);

SHELL_STATIC_SUBCMD_SET_CREATE(sub_op,
    SHELL_CMD_ARG(status, NULL, "pump, provisioning and calibration status", cmd_status, 1, 0),
    SHELL_CMD_ARG(key, NULL, "<hex> set the 16..64 byte command key", cmd_key, 2, 0),
    SHELL_CMD_ARG(limits, NULL, "<max_basal_cU/h> <max_bolus_cU> <hourly_cap_cU>", cmd_limits, 4, 0),
    SHELL_CMD_ARG(basal, NULL, "<min>:<cU/h> ... scheduled basal", cmd_basal, 2, OP_MAX_BASAL_ENTRIES - 1),
    SHELL_CMD(cal, &sub_cal, "calibration", NULL),
    SHELL_CMD_ARG(bench, NULL, "<pulses> gravimetric test (saline only)", cmd_bench, 2, 0),
    SHELL_CMD_ARG(time, NULL, "<epoch_minutes>", cmd_time, 2, 0),
    SHELL_CMD_ARG(pair, NULL, "allow BLE pairing for 120 s", cmd_pair, 1, 0),
    SHELL_CMD_ARG(unpair, NULL, "forget all bonded controllers", cmd_unpair, 1, 0),
    SHELL_SUBCMD_SET_END);

SHELL_CMD_REGISTER(op, &sub_op, "OpenPatch pump", NULL);
```

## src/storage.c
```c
#include <string.h>
#include <zephyr/fs/fcb.h>
#include <zephyr/kernel.h>
#include <zephyr/logging/log.h>
#include <zephyr/settings/settings.h>
#include <zephyr/storage/flash_map.h>

#include "app.h"

LOG_MODULE_REGISTER(storage, LOG_LEVEL_INF);

/* ---------- configuration + state snapshot: Zephyr settings ("op/...") on NVS ---------- */

static struct app_config *loading;

static int op_settings_set(const char *name, size_t len, settings_read_cb read_cb, void *cb_arg)
{
    const char *next;
    struct app_config *c = loading;
    if (!c) {
        return 0;
    }
    if (settings_name_steq(name, "key", &next) && !next) {
        if (len > sizeof c->key) {
            return -EINVAL;
        }
        ssize_t n = read_cb(cb_arg, c->key, len);
        c->key_len = n > 0 ? (uint8_t)n : 0;
        return 0;
    }
    if (settings_name_steq(name, "limits", &next) && !next && len == sizeof c->lim) {
        return read_cb(cb_arg, &c->lim, len) == (ssize_t)len ? 0 : -EIO;
    }
    if (settings_name_steq(name, "basal", &next) && !next) {
        struct {
            uint8_t n;
            uint16_t start[OP_MAX_BASAL_ENTRIES];
            uint16_t cuph[OP_MAX_BASAL_ENTRIES];
        } b;
        if (len != sizeof b || read_cb(cb_arg, &b, len) != (ssize_t)len || b.n > OP_MAX_BASAL_ENTRIES) {
            return -EINVAL;
        }
        c->basal_n = b.n;
        memcpy(c->basal_start, b.start, sizeof b.start);
        memcpy(c->basal_cuph, b.cuph, sizeof b.cuph);
        return 0;
    }
    if (settings_name_steq(name, "cal", &next) && !next && len == sizeof c->cal) {
        return read_cb(cb_arg, &c->cal, len) == (ssize_t)len ? 0 : -EIO;
    }
    if (settings_name_steq(name, "snap", &next) && !next && len == sizeof c->snap) {
        return read_cb(cb_arg, &c->snap, len) == (ssize_t)len ? 0 : -EIO;
    }
    return -ENOENT;
}

SETTINGS_STATIC_HANDLER_DEFINE(op, "op", NULL, op_settings_set, NULL, NULL);

int storage_init(void)
{
    int err = settings_subsys_init();
    if (err) {
        LOG_ERR("settings init failed (%d)", err);
    }
    return err;
}

int storage_load_config(struct app_config *cfg)
{
    memset(cfg, 0, sizeof *cfg);
    /* conservative defaults until provisioned over USB */
    cfg->lim = (op_limits_t){
        .max_basal_cuph = 200, .max_bolus_cu = 500, .hourly_cap_cu = 800, .max_temp_duration_min = 120,
        .pulse_cu = 5, .bolus_rate_cu_per_min = 150, .occlusion_threshold = 0xFFFE,
    };
    cfg->cal.steps_per_pulse_x100 = 1400;
    cfg->cal.force_counts_per_unit = 100;
    loading = cfg;
    int err = settings_load_subtree("op");
    loading = NULL;
    return err;
}

int storage_save_key(void)
{
    return settings_save_one("op/key", g_cfg.key, g_cfg.key_len);
}

int storage_save_limits(void)
{
    return settings_save_one("op/limits", &g_cfg.lim, sizeof g_cfg.lim);
}

int storage_save_basal(void)
{
    struct {
        uint8_t n;
        uint16_t start[OP_MAX_BASAL_ENTRIES];
        uint16_t cuph[OP_MAX_BASAL_ENTRIES];
    } b;
    memset(&b, 0, sizeof b);
    b.n = g_cfg.basal_n;
    memcpy(b.start, g_cfg.basal_start, sizeof b.start);
    memcpy(b.cuph, g_cfg.basal_cuph, sizeof b.cuph);
    return settings_save_one("op/basal", &b, sizeof b);
}

int storage_save_cal(void)
{
    return settings_save_one("op/cal", &g_cfg.cal, sizeof g_cfg.cal);
}

void storage_save_snapshot(const op_snapshot_t *snap)
{
    static op_snapshot_t last;
    if (memcmp(&last, snap, sizeof last) == 0) {
        return;
    }
    if (settings_save_one("op/snap", snap, sizeof *snap) == 0) {
        last = *snap;
    }
}

/* ---------- delivery history: append-only flash circular buffer ---------- */

#define HIST_AREA FIXED_PARTITION_ID(history_partition)
#define HIST_MAGIC 0x4f504831u   /* "OPH1" */

static struct fcb hist_fcb;
static struct flash_sector hist_sectors[64];
static bool hist_ready;

struct hist_entry {
    uint32_t minute;
    uint16_t cu;
    uint8_t kind;
    uint8_t check;
} __packed;

static uint8_t entry_check(const struct hist_entry *e)
{
    return (uint8_t)(0xA5 ^ e->minute ^ (e->minute >> 8) ^ (e->minute >> 16) ^ (e->minute >> 24) ^ e->cu ^
                     (e->cu >> 8) ^ e->kind);
}

int storage_history_init(void)
{
    uint32_t cnt = ARRAY_SIZE(hist_sectors);
    int err = flash_area_get_sectors(HIST_AREA, &cnt, hist_sectors);
    if (err) {
        LOG_ERR("history sectors (%d)", err);
        return err;
    }
    hist_fcb.f_magic = HIST_MAGIC;
    hist_fcb.f_version = 1;
    hist_fcb.f_sector_cnt = (uint8_t)cnt;
    hist_fcb.f_scratch_cnt = 0;
    hist_fcb.f_sectors = hist_sectors;
    err = fcb_init(HIST_AREA, &hist_fcb);
    if (err) {
        LOG_WRN("history log unreadable (%d): erasing", err);
        const struct flash_area *fa;
        if (flash_area_open(HIST_AREA, &fa) == 0) {
            flash_area_erase(fa, 0, fa->fa_size);
            flash_area_close(fa);
        }
        err = fcb_init(HIST_AREA, &hist_fcb);
    }
    hist_ready = err == 0;
    return err;
}

void storage_history_append(const op_record_t *rec)
{
    if (!hist_ready) {
        return;
    }
    struct hist_entry e = {.minute = rec->minute, .cu = rec->cu, .kind = rec->kind};
    e.check = entry_check(&e);
    struct fcb_entry loc;
    int err = fcb_append(&hist_fcb, sizeof e, &loc);
    if (err == -ENOSPC) {
        fcb_rotate(&hist_fcb);   /* drop the oldest sector (far older than the 48 h the core keeps) */
        err = fcb_append(&hist_fcb, sizeof e, &loc);
    }
    if (err) {
        LOG_ERR("history append (%d)", err);
        return;
    }
    flash_area_write(hist_fcb.fap, FCB_ENTRY_FA_DATA_OFF(loc), &e, sizeof e);
    fcb_append_finish(&hist_fcb, &loc);
}

static int replay_cb(struct fcb_entry_ctx *ctx, void *arg)
{
    struct hist_entry e;
    if (ctx->loc.fe_data_len != sizeof e ||
        flash_area_read(ctx->fap, FCB_ENTRY_FA_DATA_OFF(ctx->loc), &e, sizeof e) != 0 || e.check != entry_check(&e)) {
        return 0;
    }
    op_record_t r = {.minute = e.minute, .cu = e.cu, .kind = e.kind};
    op_fw_history_restore((op_fw_t *)arg, &r);
    return 0;
}

int storage_history_replay(op_fw_t *fw)
{
    if (!hist_ready) {
        return -ENODEV;
    }
    return fcb_walk(&hist_fcb, NULL, replay_cb, fw);
}
```
